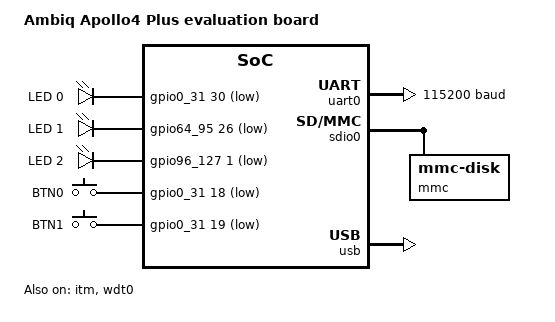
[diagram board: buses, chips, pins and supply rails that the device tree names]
/dts-v1/;
#include <ambiq/ambiq_apollo4p.dtsi>
#include <zephyr/dt-bindings/input/input-event-codes.h>

#include "apollo4p_evb-pinctrl.dtsi"

/ {
	model = "Ambiq Apollo4 Plus evaluation board";
	compatible = "ambiq,apollo4p_evb";

	chosen {
		zephyr,itcm = &tcm;
		zephyr,sram = &sram0;
		zephyr,flash = &flash0;
		zephyr,console = &uart0;
		zephyr,shell-uart = &uart0;
		zephyr,uart-pipe = &uart0;
		zephyr,flash-controller = &flash;
	};

	aliases {
		watchdog0 = &wdt0;
		led0 = &led0;
		led1 = &led1;
		led2 = &led2;
		sw0 = &button0;
		sw1 = &button1;
		pwm-led0 = &pwm_led0;
	};

	leds {
		compatible = "gpio-leds";

		led0: led_0 {
			gpios = <&gpio0_31 30 (GPIO_PULL_UP | GPIO_ACTIVE_LOW)>;
			label = "LED 0";
		};

		led1: led_1 {
			gpios = <&gpio64_95 26 (GPIO_PULL_UP | GPIO_ACTIVE_LOW)>;
			label = "LED 1";
		};

		led2: led_2 {
			gpios = <&gpio96_127 1 (GPIO_PULL_UP | GPIO_ACTIVE_LOW)>;
			label = "LED 2";
		};
	};

	buttons {
		compatible = "gpio-keys";
		polling-mode;

		button0: button_0 {
			gpios = <&gpio0_31 18 (GPIO_PULL_UP | GPIO_ACTIVE_LOW)>;
			label = "BTN0";
			zephyr,code = <INPUT_KEY_0>;
			status = "okay";
		};

		button1: button_1 {
			gpios = <&gpio0_31 19 (GPIO_PULL_UP | GPIO_ACTIVE_LOW)>;
			label = "BTN1";
			zephyr,code = <INPUT_KEY_1>;
			status = "okay";
		};
	};

	pwmleds: pwmleds {
		compatible = "pwm-leds";
		status = "disabled";

		pwm_led0: pwm_led_0 {
			pwms = <&pwm2 0 PWM_MSEC(20) PWM_POLARITY_NORMAL>;
			label = "PWM_LED";
		};
	};
};

&uart0 {
	current-speed = <115200>;
	pinctrl-0 = <&uart0_default>;
	pinctrl-names = "default";
	status = "okay";
};

&itm {
	pinctrl-0 = <&itm_default>;
	pinctrl-names = "default";
	status = "okay";
};

&adc0 {
	pinctrl-0 = <&adc0_default>;
	pinctrl-names = "default";
	status = "disabled";
};

&timer0 {
	counter0: counter {
		status = "disabled";
	};
};

&timer2 {
	pwm2: pwm {
		pinctrl-0 = <&pwm2_default>;
		pinctrl-names = "default";
		status = "disabled";
	};
};

&rtc0 {
	status = "disabled";
	clock = "XTAL";
};

&wdt0 {
	status = "okay";
};

&iom0 {
	i2c0: i2c {
		pinctrl-0 = <&i2c0_default>;
		pinctrl-names = "default";
		clock-frequency = <I2C_BITRATE_STANDARD>;
		scl-gpios = <&gpio0_31 5 (GPIO_OPEN_DRAIN | GPIO_PULL_UP)>;
		sda-gpios = <&gpio0_31 6 (GPIO_OPEN_DRAIN | GPIO_PULL_UP)>;
		status = "disabled";
	};
};

&iom1 {
	spi1: spi {
		pinctrl-0 = <&spi1_default>;
		pinctrl-names = "default";
		cs-gpios = <&gpio0_31 11 GPIO_ACTIVE_LOW>;
		clock-frequency = <1000000>;
		status = "disabled";
	};
};

&mspi0 {
	pinctrl-0 = <&mspi0_default>;
	pinctrl-names = "default";
	status = "disabled";
};

&mspi1 {
	pinctrl-0 = <&mspi1_default>;
	pinctrl-names = "default";
	status = "disabled";
};

&mspi2 {
	pinctrl-0 = <&mspi2_default>;
	pinctrl-names = "default";
	status = "disabled";
};

&flash0 {
	erase-block-size = <2048>;
	write-block-size = <16>;

	partitions {
		compatible = "fixed-partitions";
		#address-cells = <1>;
		#size-cells = <1>;

		/* Set 16KB of storage at the end of the 1952KB of flash */
		storage_partition: partition@1e4000 {
			label = "storage";
			reg = <0x001e4000 0x4000>;
		};
	};
};

&stimer0 {
	clk-source = <3>;
};

&sdio0 {
	pinctrl-0 = <&sdio0_default>;
	pinctrl-names = "default";
	txdelay = <0>;
	rxdelay = <0>;
	status = "okay";

	mmc {
		compatible = "zephyr,mmc-disk";
		disk-name = "SD2";
		status = "okay";
	};
};

zephyr_udc0: &usb {
	vddusb33-gpios = <&gpio96_127 7 GPIO_PULL_UP>;
	vddusb0p9-gpios = <&gpio96_127 5 GPIO_PULL_UP>;
	status = "okay";
};

&gpio0_31 {
	status = "okay";
};

&gpio32_63 {
	status = "okay";
};

&gpio64_95 {
	status = "okay";
};

&gpio96_127 {
	status = "okay";
};
